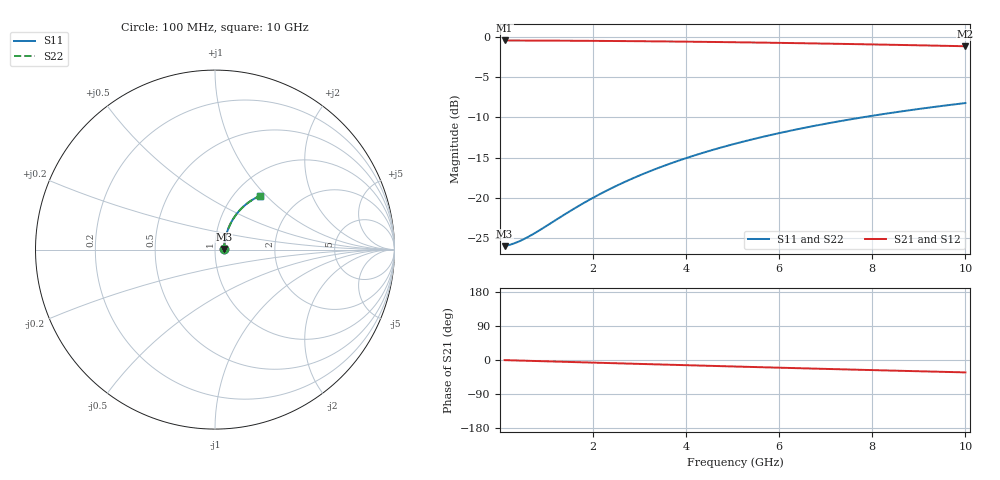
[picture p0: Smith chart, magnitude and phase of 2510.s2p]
# Hz S RI R 50.00
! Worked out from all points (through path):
!   100 points, 100 MHz to 10 GHz, reference 50 ohm
!   highest |S21| = -0.44 dB at 100 MHz (marker M1); lowest = -1.2 dB at 10 GHz (marker M2)
!   group delay of S21, straight-line fit = 9.11 ps
!   lowest |S11| = -26.0 dB at 100 MHz (marker M3), VSWR 1.11, Z = 55.3 + j0.444 ohm
!   |S11| at or under -10 dB: start of sweep to 7.789 GHz
!   |S22| runs from -26.0 to -8.2 dB; largest |S21 - S12| = 0
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1e8  0.0499 0.00401  0.9501 -0.00574  0.9501 -0.00574  0.0499 0.00401
3e8  0.0507 0.012  0.9493 -0.0172  0.9493 -0.0172  0.0507 0.012
4e8  0.051 0.016  0.949 -0.0229  0.949 -0.0229  0.051 0.016
6e8  0.0518 0.024  0.9481 -0.0343  0.9481 -0.0343  0.0518 0.024
8e8  0.0527 0.0319  0.9472 -0.0457  0.9472 -0.0457  0.0527 0.0319
1.5e9  0.0572 0.0595  0.9425 -0.0854  0.9425 -0.0854  0.0572 0.0595
1.8e9  0.0597 0.0711  0.9397 -0.1022  0.9397 -0.1022  0.0597 0.0711
2.2e9  0.0638 0.0864  0.9355 -0.1245  0.9355 -0.1245  0.0638 0.0864
2.6e9  0.0685 0.1015  0.9305 -0.1464  0.9305 -0.1464  0.0685 0.1015
3e9  0.0739 0.1163  0.9247 -0.1681  0.9247 -0.1681  0.0739 0.1163
3.4e9  0.0799 0.1307  0.9183 -0.1895  0.9183 -0.1895  0.0799 0.1307
3.8e9  0.0866 0.1448  0.9111 -0.2105  0.9111 -0.2105  0.0866 0.1448
4.2e9  0.0939 0.1585  0.9033 -0.2311  0.9033 -0.2311  0.0939 0.1585
4.6e9  0.1018 0.1717  0.8949 -0.2513  0.8949 -0.2513  0.1018 0.1717
5.1e9  0.1124 0.1876  0.8835 -0.2759  0.8835 -0.2759  0.1124 0.1876
5.5e9  0.1215 0.1998  0.8738 -0.295  0.8738 -0.295  0.1215 0.1998
5.9e9  0.131 0.2114  0.8636 -0.3136  0.8636 -0.3136  0.131 0.2114
6.7e9  0.1514 0.2331  0.8416 -0.3492  0.8416 -0.3492  0.1514 0.2331
7.5e9  0.1733 0.2525  0.8179 -0.3827  0.8179 -0.3827  0.1733 0.2525
8.4e9  0.1993 0.2716  0.7896 -0.4175  0.7896 -0.4175  0.1993 0.2716
9.2e9  0.2234 0.286  0.7633 -0.4461  0.7633 -0.4461  0.2234 0.286
1e10  0.2481 0.2982  0.7361 -0.4724  0.7361 -0.4724  0.2481 0.2982
